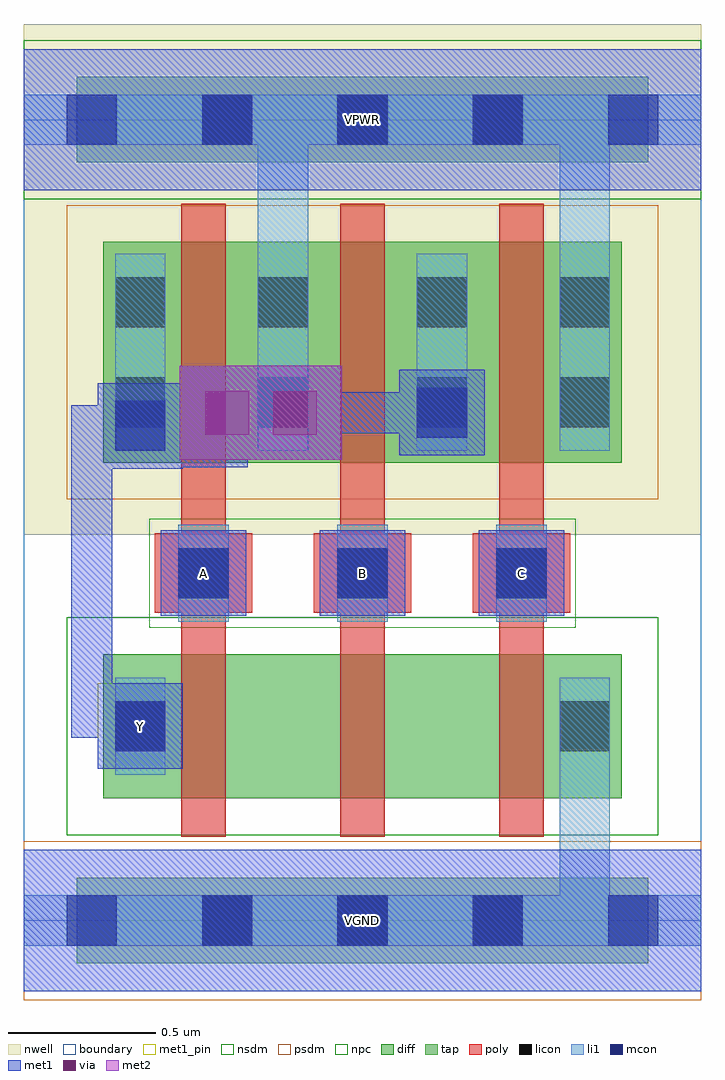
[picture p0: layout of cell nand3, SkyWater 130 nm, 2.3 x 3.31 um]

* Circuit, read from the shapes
.subckt nand3 A B C VGND VPWR Y
XM1 n1 A Y VGND sky130_fd_pr__nfet_01v8 w=0.49 l=0.15
XM2 n2 B n1 VGND sky130_fd_pr__nfet_01v8 w=0.49 l=0.15
XM3 VGND C n2 VGND sky130_fd_pr__nfet_01v8 w=0.49 l=0.15
XM4 VPWR A Y VPWR sky130_fd_pr__pfet_01v8 w=0.75 l=0.15
XM5 Y B VPWR VPWR sky130_fd_pr__pfet_01v8 w=0.75 l=0.15
XM6 VPWR C Y VPWR sky130_fd_pr__pfet_01v8 w=0.75 l=0.15
.ends

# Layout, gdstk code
import gdstk
lib = gdstk.Library(unit=1e-6, precision=1e-09)
def R(c, l, rs):  # rectangles x0, y0, x1, y1
    for r in rs: c.add(gdstk.rectangle(r[:2], r[2:], *l))
def A(c, l, x, y, w, h, nx, ny, dx, dy):  # array of equal rectangles
    R(c, l, [(x+i*dx, y+j*dy, x+i*dx+w, y+j*dy+h) for i in range(nx) for j in range(ny)])
nwell = (64, 20)
diff = (65, 20)
tap = (65, 44)
poly = (66, 20)
licon = (66, 44)
li1 = (67, 20)
mcon = (67, 44)
met1_pin = (68, 16)
met1 = (68, 20)
via = (68, 44)
met2 = (69, 20)
nsdm = (93, 44)
psdm = (94, 20)
npc = (95, 20)
boundary = (235, 4)

nand3 = lib.new_cell('nand3')
R(nand3, nwell, [(0,1.31,2.3,3.045)])
R(nand3, diff, [(0.27,0.415,2.03,0.905), (0.27,1.555,2.03,2.305)])
R(nand3, tap, [(0.18,-0.145,2.12,0.145), (0.18,2.575,2.12,2.865)])
A(nand3, poly, 0.535, 0.285, 0.15, 2.15, 3, 1, 0.54, 0)
A(nand3, poly, 0.445, 1.045, 0.33, 0.27, 3, 1, 0.54, 0)
A(nand3, licon, 0.605, -0.085, 0.17, 0.17, 3, 2, 0.46, 2.72)
A(nand3, licon, 0.525, 1.095, 0.17, 0.17, 3, 1, 0.54, 0)
R(nand3, licon, [(0.31,0.575,0.48,0.745), (1.82,0.575,1.99,0.745), (0.31,1.675,0.48,1.845), (0.795,1.675,0.965,1.845), (1.335,1.675,1.505,1.845), (1.82,1.675,1.99,1.845), (0.31,2.015,0.48,2.185), (0.795,2.015,0.965,2.185), (1.335,2.015,1.505,2.185), (1.82,2.015,1.99,2.185)])
A(nand3, li1, 0.525, 1.015, 0.17, 0.33, 3, 1, 0.54, 0)
R(nand3, li1, [(0,-0.085,2.3,0.085), (1.82,-0.085,1.99,0.825), (0.31,0.495,0.48,0.825), (1.82,0.495,1.99,0.825), (0.31,1.595,0.48,2.265), (0.795,1.595,0.965,2.265), (0.795,1.595,0.965,2.805), (1.335,1.595,1.505,2.265), (1.82,1.595,1.99,2.265), (1.82,1.595,1.99,2.805), (0,2.635,2.3,2.805)])
A(nand3, mcon, 0.145, -0.085, 0.17, 0.17, 5, 2, 0.46, 2.72)
A(nand3, mcon, 0.525, 1.095, 0.17, 0.17, 3, 1, 0.54, 0)
R(nand3, mcon, [(0.31,0.575,0.48,0.745), (0.31,1.595,0.48,1.765), (1.335,1.64,1.505,1.81)])
A(nand3, met1_pin, 0.465, 1.035, 0.29, 0.29, 3, 1, 0.54, 0)
R(nand3, met1_pin, [(0,-0.24,2.3,0.24), (0.25,0.515,0.54,0.805), (0,2.48,2.3,2.96)])
A(nand3, met1, 0.465, 1.035, 0.29, 0.29, 3, 1, 0.54, 0)
R(nand3, met1, [(0,-0.24,2.3,0.24), (0.25,0.515,0.54,0.805), (0.16,0.62,0.415,0.76), (0.16,0.62,0.3,1.565), (0.275,0.62,0.415,0.76), (0.16,1.425,0.3,1.75), (0.16,1.425,0.3,1.68), (0.25,1.535,0.54,1.825), (0.16,1.54,0.76,1.68), (0.54,1.54,0.62,1.795), (0.62,1.54,0.76,1.795), (0.53,1.565,0.85,1.885), (0.76,1.565,1.08,1.885), (1.275,1.58,1.565,1.87), (0.16,1.61,0.465,1.75), (0.85,1.655,1.335,1.795), (1.195,1.655,1.49,1.795), (0,2.48,2.3,2.96)])
R(nand3, via, [(0.615,1.65,0.765,1.8), (0.845,1.65,0.995,1.8)])
R(nand3, met2, [(0.53,1.565,0.85,1.885), (0.76,1.565,1.08,1.885), (0.62,1.655,0.99,1.795)])
R(nand3, nsdm, [(0.145,0.29,2.155,1.03), (0,2.45,2.3,2.99)])
R(nand3, psdm, [(0,-0.27,2.3,0.27), (0.145,1.43,2.155,2.43)])
R(nand3, npc, [(0.425,0.995,1.875,1.365)])
R(nand3, boundary, [(0,0,2.3,2.72)])
nand3.add(gdstk.Label('A', (0.61,1.18), layer=68, texttype=5))
nand3.add(gdstk.Label('B', (1.15,1.18), layer=68, texttype=5))
nand3.add(gdstk.Label('C', (1.69,1.18), layer=68, texttype=5))
nand3.add(gdstk.Label('Y', (0.395,0.66), layer=68, texttype=5))
nand3.add(gdstk.Label('VPWR', (1.15,2.72), layer=68, texttype=5))
nand3.add(gdstk.Label('VGND', (1.15,0), layer=68, texttype=5))
nand3.add(gdstk.Label('A', (0.61,1.18), layer=68, texttype=16))
nand3.add(gdstk.Label('B', (1.15,1.18), layer=68, texttype=16))
nand3.add(gdstk.Label('C', (1.69,1.18), layer=68, texttype=16))
nand3.add(gdstk.Label('Y', (0.395,0.66), layer=68, texttype=16))
nand3.add(gdstk.Label('VPWR', (1.15,2.72), layer=68, texttype=16))
nand3.add(gdstk.Label('VGND', (1.15,0), layer=68, texttype=16))

lib.write_gds('nand3.gds')
